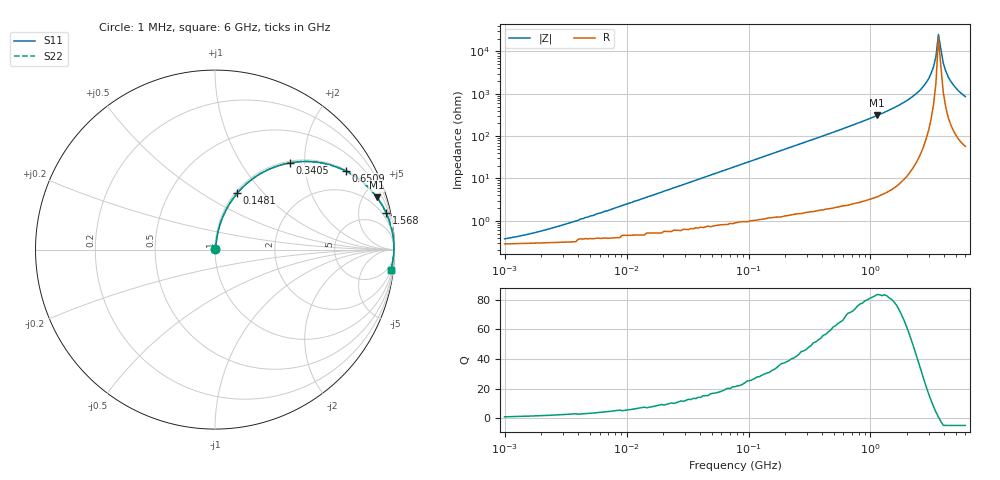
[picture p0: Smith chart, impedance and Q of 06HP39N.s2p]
# MHz S MA R 50
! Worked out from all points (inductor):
!   189 points, 1 MHz to 6 GHz, reference 50 ohm
!   read as one part in series: L = 38.8 nH near 4.823 MHz
!   highest Q = 83.5 at 1.134 GHz (marker M1), where L = 43.2 nH
!   self-resonance near 3.607 GHz
!   S11 on the Smith chart (normalised r, x): 1 MHz: 1.01, +0.00; 148.1 MHz: 1.02, +0.73; 340.5 MHz: 1.03, +1.68; 650.9 MHz: 1.04, +3.30; 1.568 GHz: 1.11, +9.44; 6 GHz: 2, -17
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1  0.003628 42.2  0.997 -0.1  0.997 -0.1  0.003628 42.2
1.825  0.005349 56.2  0.997 -0.3  0.997 -0.3  0.005349 56.2
4.396  0.011 71.1  0.996 -0.6  0.996 -0.6  0.011 71.1
18.454  0.045 80.8  0.994 -2.6  0.994 -2.6  0.045 80.8
77.46  0.185 76.7  0.974 -10.7  0.974 -10.7  0.185 76.7
148.056  0.338 68.4  0.93 -19.8  0.93 -19.8  0.338 68.4
224.541  0.479 60.0  0.866 -28.6  0.866 -28.6  0.479 60.0
340.538  0.638 49.2  0.758 -39.6  0.758 -39.6  0.638 49.2
650.904  0.85 31.0  0.516 -58.1  0.516 -58.1  0.85 31.0
1134.163  0.948 17.9  0.308 -71.4  0.308 -71.4  0.948 17.9
1429.415  0.969 13.5  0.234 -75.8  0.234 -75.8  0.969 13.5
1568.019  0.976 11.9  0.207 -77.3  0.207 -77.3  0.976 11.9
2378.046  0.993 5.6  0.098 -83.0  0.098 -83.0  0.993 5.6
2732.184  0.995 3.7  0.065 -84.1  0.065 -84.1  0.995 3.7
2997.112  0.996 2.5  0.044 -84.0  0.044 -84.0  0.996 2.5
3287.73  0.997 1.3  0.023 -81.4  0.023 -81.4  0.997 1.3
3443.441  0.997 0.7  0.013 -75.3  0.013 -75.3  0.997 0.7
3606.527  0.997 0.1  0.003956 -33.2  0.003956 -33.2  0.997 0.1
3956.237  0.996 -1.1  0.019 77.4  0.019 77.4  0.996 -1.1
4339.857  0.995 -2.2  0.04 81.4  0.04 81.4  0.995 -2.2
4986.147  0.992 -4.1  0.071 81.5  0.071 81.5  0.992 -4.1
6000  0.986 -6.6  0.115 79.6  0.115 79.6  0.986 -6.6
